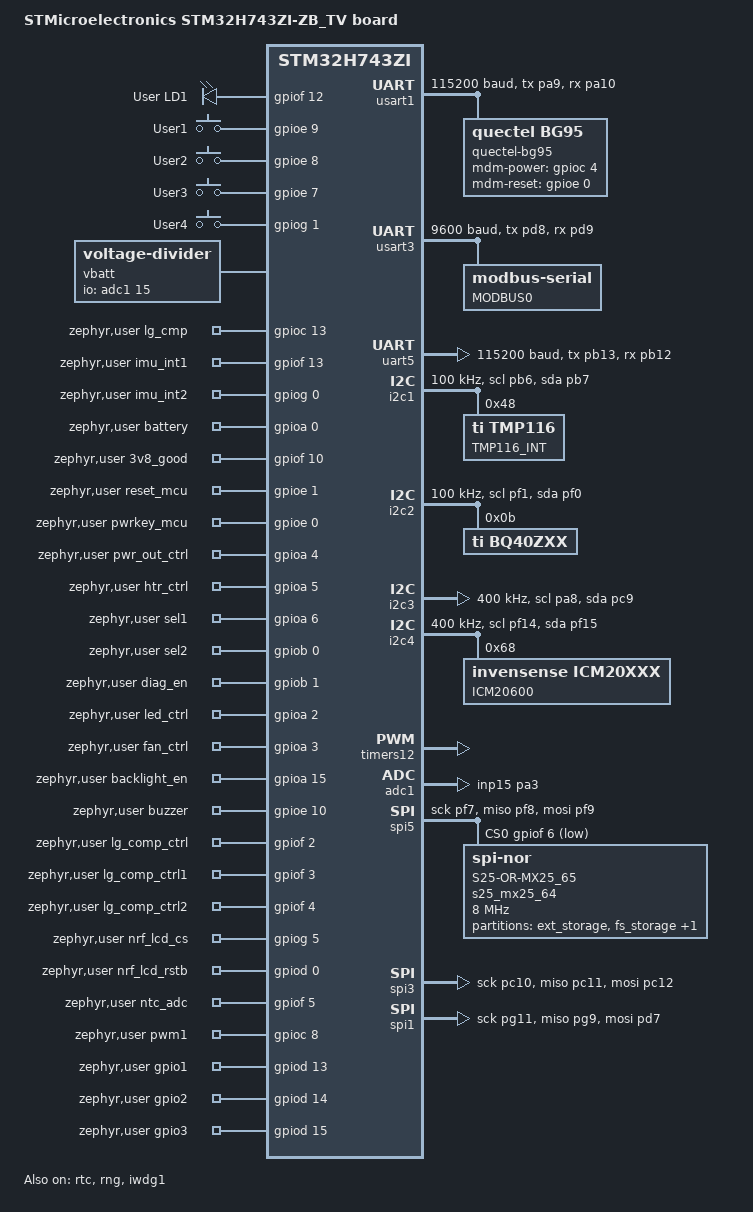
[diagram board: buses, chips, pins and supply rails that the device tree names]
/*
 * Copyright (c) 2020 Teslabs Engineering S.L.
 *
 * SPDX-License-Identifier: Apache-2.0
 */

/dts-v1/;
#include <st/h7/stm32h743Xg.dtsi>
#include <st/h7/stm32h743zgtx-pinctrl.dtsi>
//#include "arduino_r3_connector.dtsi"

/ {
	model = "STMicroelectronics STM32H743ZI-ZB_TV board";
	compatible = "st,stm32h743zi-zb_tv";

	chosen {
		zephyr,console = &uart5;
		//zephyr,console = &cdc_acm_uart0;
		zephyr,shell-uart = &uart5;
		zephyr,sram = &sram0;
		zephyr,flash = &flash0;
		zephyr,dtcm = &dtcm;
        zephyr,display = &ltdc;
		zephyr,code-partition = &slot0_partition;
	};

	leds {
		compatible = "gpio-leds";
		green_led: led_0 {
			gpios = <&gpiof 12 GPIO_ACTIVE_HIGH>;
			label = "User LD1";
		};
        /* FIXME
		yellow_led: led_1 {
			gpios = <&gpioe 1 GPIO_ACTIVE_HIGH>;
			label = "User LD2";
		};
        */
	};

	gpio_keys {
		compatible = "gpio-keys";
		user_button_0: button_0 {
			label = "User1";
			gpios = <&gpioe 9 GPIO_ACTIVE_HIGH>;
		};
		user_button_1: button_1 {
			label = "User2";
			gpios = <&gpioe 8 GPIO_ACTIVE_HIGH>;
		};
		user_button_2: button_2 {
			label = "User3";
			gpios = <&gpioe 7 GPIO_ACTIVE_HIGH>;
		};
		user_button_3: button_3 {
			label = "User4";
			gpios = <&gpiog 1 GPIO_ACTIVE_HIGH>;
		};
	};

    vbatt {
		compatible = "voltage-divider";
		io-channels = <&adc1 15>;
		output-ohms = <10760>;
		full-ohms = <(10760 + 97600)>;
        //power-gpios = <&sx1509b 8 GPIO_ACTIVE_HIGH>;
	};

	aliases {
		led0 = &green_led;
		led1 = &green_led;
		led2 = &green_led;
		//led1 = &yellow_led;
		sw0 = &user_button_0;
		sw1 = &user_button_1;
		sw2 = &user_button_2;
		sw3 = &user_button_3;
        gpioa = &gpioa;
        gpioc = &gpioc;
        gpiod = &gpiod;
        gpiog = &gpiog;
        gpioe = &gpioe;
        gpiof = &gpiof;
        spi3 = &spi3;
		uart5 = &uart5;
		usart3 = &usart3;
	};

/*
	LG_COMP_CTRL - PF2
	LG_COMP_CTRL1 - PC4
	LG_COMP_CTRL2 - PC5
	USR_BUTTON1 - PG1
	USR_BUTTON2 - PE7
	USR_BUTTON3 - PE8
	USR_BUTTON4 - PE9
	NRF_LCD_CS - PA15
	NRF_LCD_RSTB - PD0
	NTC_ADC - PF5
	PWM1 - PC8
	GPIO1 - PD3
	GPIO2 - PD4
	GPIO3 - PD5
	RESET_MCU - PG6
	PWRKEY_MCU - PG5
	PWR_OUT_CTRL - PD11
	HEATER_CTRL - PD12
	SEL1 - PD13
	SEL2 - PD14
	DIAG_EN - PD15
	LED_CTRL - PF11
	FAN_CTRL - PB2
	BACKLIGHT_EN - PA0
	BUZZER - PA7
	LED1 - PE2
	LED2 - PE3
	LED3 - PE4
	LG_CMP - PF3
	IMU_INT1 - PF13
	IMU_INT2 - PG0
	BATTERY - PF4
	3V8_GOOD - PG7
*/
    zephyr,user {
		lg_cmp-gpios = <&gpioc 13 GPIO_ACTIVE_HIGH>;
		imu_int1-gpios = <&gpiof 13 GPIO_ACTIVE_HIGH>;
		imu_int2-gpios = <&gpiog 0 GPIO_ACTIVE_HIGH>;
		battery-gpios = <&gpioa 0 GPIO_ACTIVE_HIGH>;
		3v8_good-gpios = <&gpiof 10 GPIO_ACTIVE_HIGH>;
		reset_mcu-gpios = <&gpioe 1 GPIO_ACTIVE_HIGH>;
		pwrkey_mcu-gpios = <&gpioe 0 GPIO_ACTIVE_HIGH>;
		pwr_out_ctrl-gpios = <&gpioa 4 GPIO_ACTIVE_HIGH>;
		htr_ctrl-gpios = <&gpioa 5 GPIO_ACTIVE_HIGH>;
		sel1-gpios = <&gpioa 6 GPIO_ACTIVE_HIGH>;
		sel2-gpios = <&gpiob 0 GPIO_ACTIVE_HIGH>;
		diag_en-gpios = <&gpiob 1 GPIO_ACTIVE_HIGH>;
		led_ctrl-gpios = <&gpioa 2 GPIO_ACTIVE_HIGH>;
		fan_ctrl-gpios = <&gpioa 3 GPIO_ACTIVE_HIGH>;
		backlight_en-gpios = <&gpioa 15 GPIO_ACTIVE_HIGH>;
		buzzer-gpios = <&gpioe 10 GPIO_ACTIVE_HIGH>;
		lg_comp_ctrl-gpios = <&gpiof 2 GPIO_ACTIVE_HIGH>;
		lg_comp_ctrl1-gpios = <&gpiof 3 GPIO_ACTIVE_HIGH>;
		lg_comp_ctrl2-gpios = <&gpiof 4 GPIO_ACTIVE_HIGH>;
		nrf_lcd_cs-gpios = <&gpiog 5 GPIO_ACTIVE_HIGH>;
		nrf_lcd_rstb-gpios = <&gpiod 0 GPIO_ACTIVE_HIGH>;
		ntc_adc-gpios = <&gpiof 5 GPIO_ACTIVE_HIGH>;
		pwm1-gpios = <&gpioc 8 GPIO_ACTIVE_HIGH>;
		gpio1-gpios = <&gpiod 13 GPIO_ACTIVE_HIGH>;
		gpio2-gpios = <&gpiod 14 GPIO_ACTIVE_HIGH>;
		gpio3-gpios = <&gpiod 15 GPIO_ACTIVE_HIGH>;
    };

/*
    gpio_i2c0: gpio_i2c {
        compatible = "gpio-i2c";
        status = "okay";
        clock-frequency = <I2C_BITRATE_STANDARD>;
        //i2c2_scl_pf1 &i2c2_sda_pf0
        sda-gpios = <&gpiof 0 (GPIO_OPEN_DRAIN)>;
        scl-gpios = <&gpiof 1 (GPIO_OPEN_DRAIN)>;
        label = "GPIO_I2C_0";
        #address-cells = <1>;
        #size-cells = <0>;

        bq40zxx: bq40zxx@b {
            compatible = "ti,bq40zxx";
            reg = <0x0b>;
            label = "BQ40ZXX";
            design-voltage = <11100>;
            design-capacity = <16400>;
            taper-current = <130>;
            terminate-voltage = <9000>;
        };
    };
*/
};

/*
zephyr_udc0: &usbotg_hs {
	pinctrl-0 = <&usb_otg_hs_dm_pb14 &usb_otg_hs_dp_pb15>;
    pinctrl-names = "default";
	status = "okay";
};
*/

/*
&zephyr_udc0 {
	cdc_acm_uart0: cdc_acm_uart0 {
		compatible = "zephyr,cdc-acm-uart";
		label = "CDC_ACM_0";
	};
};
*/
/*
&clk_hse {
	hse-bypass;
	clock-frequency = <DT_FREQ_M(8)>;
	status = "okay";
};

&pll {
	div-m = <1>;
	mul-n = <24>;
	div-p = <2>;
	div-q = <4>;
	div-r = <2>;
	clocks = <&clk_hse>;
	status = "okay";
};
*/

&clk_hsi{
    hsi-div = <1>;
	status = "okay";
};

&pll {
	div-m = <4>;
	mul-n = <10>;
	div-p = <2>;
	div-q = <2>;
	div-r = <2>;
	clocks = <&clk_hsi>;
	status = "okay";
};

&pll3 {
	div-m = <4>;
	mul-n = <16>;
	div-p = <2>;
	div-q = <2>;
	div-r = <2>;
	clocks = <&clk_hsi>;
	status = "okay";
};

&rcc {
	clocks = <&pll>;
	clock-frequency = <DT_FREQ_M(75)>;
	d1cpre = <1>;
	hpre = <1>;
	d1ppre = <1>;
	d2ppre1 = <2>;
	d2ppre2 = <2>;
	d3ppre = <2>;
};

&usart1 {
	pinctrl-0 = <&usart1_tx_pa9 &usart1_rx_pa10>;
    pinctrl-names = "default";
    // cts - pa11, rts - pa12
	current-speed = <115200>;
	status = "okay";
    quectel_bg95: quectel_bg95 {
        compatible = "quectel,bg95";
	    label = "quectel-bg95";
        // 3V8 power
		mdm-power-gpios = <&gpioc 4 GPIO_ACTIVE_HIGH>;
        // pwr/rst
		mdm-reset-gpios = <&gpioe 0 0>;
    };
};

&usart3 {
	pinctrl-0 = <&usart3_tx_pd8 &usart3_rx_pd9>;
    pinctrl-names = "default";
	current-speed = <9600>;
	status = "okay";
	modbus0 {
		compatible = "zephyr,modbus-serial";
		label = "MODBUS0";
		status = "okay";
	};
};

&uart5 {
	pinctrl-0 = <&uart5_tx_pb13 &uart5_rx_pb12>;
    pinctrl-names = "default";
	current-speed = <115200>;
	status = "okay";
};

&rtc {
	status = "okay";
};

&i2c1 {
	pinctrl-0 = <&i2c1_scl_pb6 &i2c1_sda_pb7>;
    pinctrl-names = "default";
	status = "okay";
	clock-frequency = <I2C_BITRATE_STANDARD>;

    ti_tmp116_int: ti_tmp116@48 {
		compatible = "ti,tmp116";
		reg = <0x48>;
		label = "TMP116_INT";
		#address-cells = <1>;
		#size-cells = <0>;

		eeprom: ti_tmp116_eeprom@0 {
			compatible = "ti,tmp116-eeprom";
			reg = <0x0>;
			label = "TMP116_EEPROM";
			read-only;
        };
	};
};

&i2c2 {
	pinctrl-0 = <&i2c2_scl_pf1 &i2c2_sda_pf0>;
    pinctrl-names = "default";
	status = "okay";
	clock-frequency = <I2C_BITRATE_STANDARD>;
    bq40zxx: bq40zxx@b {
        compatible = "ti,bq40zxx";
        reg = <0x0b>;
        label = "BQ40ZXX";
        design-voltage = <11100>;
        design-capacity = <16400>;
        taper-current = <130>;
        terminate-voltage = <9000>;
    };
};

&i2c3 {
	pinctrl-0 = <&i2c3_scl_pa8 &i2c3_sda_pc9>;
    pinctrl-names = "default";
	status = "okay";
	clock-frequency = <I2C_BITRATE_FAST>;
};

&i2c4 {
	pinctrl-0 = <&i2c4_scl_pf14 &i2c4_sda_pf15>;
    pinctrl-names = "default";
	status = "okay";
	clock-frequency = <I2C_BITRATE_FAST>;
    icm20600: icm20600@68 {
        compatible = "invensense,icm20xxx";
        reg = <0x68>;
        label = "ICM20600";
    };
};

&timers12 {
	status = "okay";

	pwm12: pwm {
		status = "okay";
		pinctrl-0 = <&tim12_ch1_pb14>;
        pinctrl-names = "default";
	};
};

&adc1 {
	pinctrl-0 = <&adc1_inp15_pa3>;
    pinctrl-names = "default";
	status = "okay";
};

&rng {
	status = "okay";
};

&spi5 {
	status = "okay";
	pinctrl-0 = <&spi5_sck_pf7 &spi5_miso_pf8 &spi5_mosi_pf9>;
    pinctrl-names = "default";
	cs-gpios = <&gpiof 6 (GPIO_ACTIVE_LOW | GPIO_PULL_UP)>;
	s25_mx25: s25_mx25_64@0 {
		compatible = "jedec,spi-nor";
		reg = <0>;
		//writeoc = "pp4io";
		//readoc = "read4io";
		//sck-frequency = <8000000>;
		//has-be32k;
        spi-max-frequency = <8000000>;
		label = "S25-OR-MX25_65";
		jedec-id = [01 60 17];
		//jedec-id = [C2 28 17];
		size = <67108864>;
		//has-dpd;
		//t-enter-dpd = <4000>;
		//t-exit-dpd = <6000>;
	};
};

&spi3 {
    // SPI LCD Display
	status = "okay";
	pinctrl-0 = <&spi3_sck_pc10 &spi3_miso_pc11 &spi3_mosi_pc12>;
    ///delete-property/ clocks;
	//clocks = <&rcc STM32_CLOCK_BUS_APB2 0x00001000>,
	//	 <&rcc STM32_SRC_PLL1_Q SPI123_SEL(0)>;
    pinctrl-names = "default";
	cs-gpios = <&gpiog 5 (GPIO_ACTIVE_LOW | GPIO_PULL_UP)>;
};

&spi1 {
	status = "okay";
	pinctrl-0 = <&spi1_sck_pg11 &spi1_miso_pg9 &spi1_mosi_pd7>;
    /delete-property/ clocks;
	clocks = <&rcc STM32_CLOCK_BUS_APB2 0x00001000>,
		 <&rcc STM32_SRC_PLL1_Q SPI123_SEL(0)>;
    pinctrl-names = "default";
	cs-gpios = <&gpiog 10 (GPIO_ACTIVE_LOW | GPIO_PULL_UP)>;
};

&backup_sram {
	status = "okay";
};

&flash0 {
	partitions {
		compatible = "fixed-partitions";
		#address-cells = <1>;
		#size-cells = <1>;

		/* 128KB for bootloader */
		boot_partition: partition@0 {
			label = "mcuboot";
			reg = <0x00000000 DT_SIZE_K(128)>;
			read-only;
		};

		/* application image slot: 256KB */
		slot0_partition: partition@20000 {
			label = "image-0";
			reg = <0x00020000 DT_SIZE_K(384)>;
		};

		/* backup slot: 256KB */
		slot1_partition: partition@100000 {
			label = "image-1";
			reg = <0x00100000 DT_SIZE_K(384)>;
		};

		/* swap slot: 128KB */
		scratch_partition: partition@160000 {
			label = "image-scratch";
			reg = <0x00160000 DT_SIZE_K(128)>;
		};

		/* storage: 128KB for settings
		storage_partition: partition@20000 {
			label = "storage";
			reg = <0x00020000 0x00020000>;
		};
        */

        /* Storage partition will be used by nvs settings */
		//settings_partition: partition@f8000 {
		//	label = "settings_store";
		//	reg = <0x000e0000 0x00020000>;
		//};
	};
};

&iwdg1 {
	status = "okay";
};

/*
&fmc {
	pinctrl-0 = <&fmc_nbl0_pe0 &fmc_nbl1_pe1
		     &fmc_sdclk_pg8 &fmc_sdnwe_ph5 &fmc_sdcke1_ph7
		     &fmc_sdne1_ph6 &fmc_sdnras_pf11 &fmc_sdncas_pg15
		     &fmc_a0_pf0 &fmc_a1_pf1 &fmc_a2_pf2 &fmc_a3_pf3 &fmc_a4_pf4
		     &fmc_a5_pf5 &fmc_a6_pf12 &fmc_a7_pf13 &fmc_a8_pf14
		     &fmc_a9_pf15 &fmc_a10_pg0 &fmc_a11_pg1
		     &fmc_a14_pg4 &fmc_a15_pg5 &fmc_d0_pd14 &fmc_d1_pd15
		     &fmc_d2_pd0 &fmc_d3_pd1 &fmc_d4_pe7 &fmc_d5_pe8 &fmc_d6_pe9
		     &fmc_d7_pe10 &fmc_d8_pe11 &fmc_d9_pe12 &fmc_d10_pe13
		     &fmc_d11_pe14 &fmc_d12_pe15 &fmc_d13_pd8 &fmc_d14_pd9
		     &fmc_d15_pd10>;
	pinctrl-names = "default";
	status = "okay";

	sdram {
		status = "okay";
		power-up-delay = <100>;
		num-auto-refresh = <8>;
		mode-register = <0x220>;
		refresh-rate = <0x603>;
		bank@1 {
			reg = <1>;
			st,sdram-control = <STM32_FMC_SDRAM_NC_9
						STM32_FMC_SDRAM_NR_12
						STM32_FMC_SDRAM_MWID_16
						STM32_FMC_SDRAM_NB_4
						STM32_FMC_SDRAM_CAS_2
						STM32_FMC_SDRAM_SDCLK_PERIOD_3
						STM32_FMC_SDRAM_RBURST_ENABLE
						STM32_FMC_SDRAM_RPIPE_2>;
			st,sdram-timing = <2 7 4 7 2 2 2>;
		};
	};
};

&sdmmc1 {
	pinctrl-0 = <&sdmmc1_d0_pc8 &sdmmc1_d1_pc9
		     &sdmmc1_d2_pc10 &sdmmc1_d3_pc11
		     &sdmmc1_ck_pc12 &sdmmc1_cmd_pd2>;
	pinctrl-names = "default";
	cd-gpios = <&gpioi 8 (GPIO_ACTIVE_LOW | GPIO_PULL_UP)>;
	status = "okay";
};

&ltdc {
	pinctrl-0 = <&ltdc_r0_pg13 &ltdc_r1_pa2 &ltdc_r2_pa1 &ltdc_r3_pb0
		     &ltdc_r4_pa5 &ltdc_r5_pc0 &ltdc_r6_pb1 &ltdc_r7_pe15
		     &ltdc_g0_pe5 &ltdc_g1_pe6 &ltdc_g2_pa6 &ltdc_g3_pe11
		     &ltdc_g4_pb10 &ltdc_g5_pb11 &ltdc_g6_pc7 &ltdc_g7_pg8
		     &ltdc_b0_pg14 &ltdc_b1_pg12 &ltdc_b2_pd6 &ltdc_b3_pd10
		     &ltdc_b4_pe12 &ltdc_b5_pa3 &ltdc_b6_pb8 &ltdc_b7_pb9
		     &ltdc_de_pe13 &ltdc_clk_pe14 &ltdc_hsync_pc6 &ltdc_vsync_pa4>;
	pinctrl-names = "default";
	disp-on-gpios = <&gpiod 12 GPIO_ACTIVE_HIGH>;
	bl-ctrl-gpios = <&gpioa 0 GPIO_ACTIVE_HIGH>;
	status = "okay";

	width = <480>;
	height = <272>;
	hsync-pol = <STM32_LTDC_HSPOL_ACTIVE_LOW>;
	vsync-pol = <STM32_LTDC_VSPOL_ACTIVE_LOW>;
	de-pol = <STM32_LTDC_DEPOL_ACTIVE_LOW>;
	pclk-pol = <STM32_LTDC_PCPOL_ACTIVE_LOW>;
	hsync-duration = <50>;
	vsync-duration = <3>;
	hbp-duration = <43>;
	vbp-duration = <12>;
	hfp-duration = <8>;
	vfp-duration = <8>;
	def-back-color-red = <0x00>;
	def-back-color-green = <0xFF>;
	def-back-color-blue = <0x00>;
};
*/

&s25_mx25 {
	/*
	 * For more information, see:
	 * http://docs.zephyrproject.org/latest/guides/dts/index.html#flash-partitions
	 */
	partitions {
		compatible = "fixed-partitions";
		#address-cells = <1>;
		#size-cells = <1>;

		/* Storage partition will be used by FCB if enabled. */
		ext_storage_partition: partition@0 {
			label = "ext_storage";
			reg = <0x00000000 0x00400000>;
		};

		/* Storage partition will be used by filesystem if enabled. */
		fs_partition: partition@400000 {
			label = "fs_storage";
			reg = <0x00400000 0x003C0000>;
		};

		settings_partition: partition@7e0000 {
			label = "settings_store";
			reg = <0x007E0000 0x00020000>;
		};
	};
};
